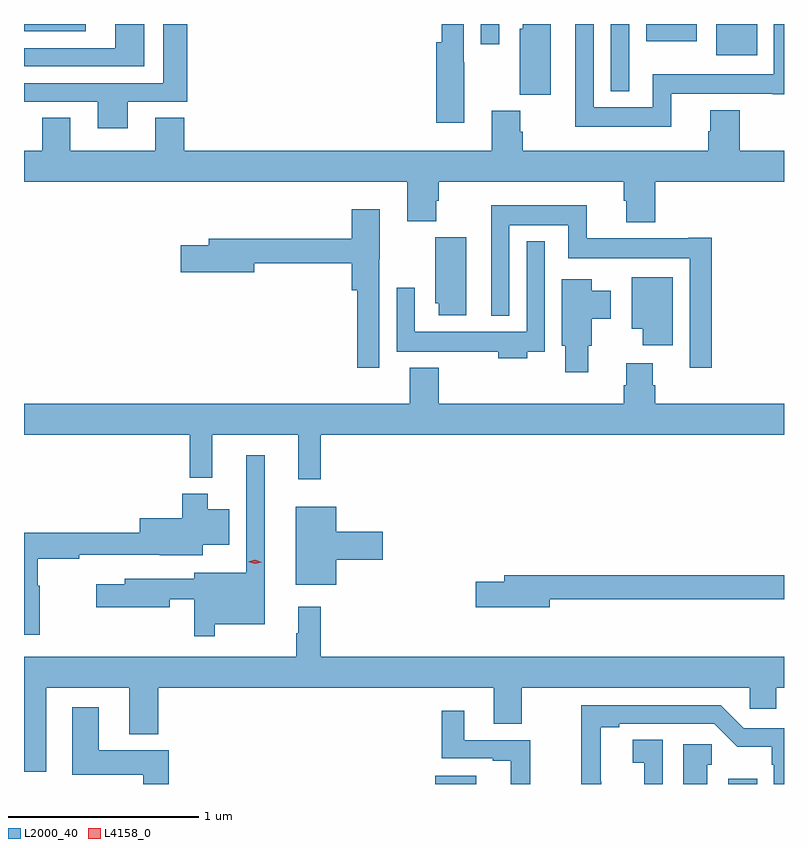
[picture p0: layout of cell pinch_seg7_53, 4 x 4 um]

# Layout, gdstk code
import gdstk
lib = gdstk.Library(unit=1e-6, precision=1e-09)
def R(c, l, rs):  # rectangles x0, y0, x1, y1
    for r in rs: c.add(gdstk.rectangle(r[:2], r[2:], *l))
def P(c, l, *ps):  # polygons
    for p in ps: c.add(gdstk.Polygon(p, *l))
L2000_40 = (2000, 40)
L4158_0 = (4158, 0)

pinch_seg7_53 = lib.new_cell('pinch_seg7_53')
R(pinch_seg7_53, L2000_40, [(974.756,1068.042,974.971,1068.085), (976.298,1068.042,976.45,1068.07), (975.681,1071.689,975.777,1072.042), (976.235,1071.878,976.45,1072.042), (974.997,1071.936,975.093,1072.042), (975.866,1071.95,976.132,1072.042), (972.592,1072.004,972.916,1072.042)])
P(pinch_seg7_53, L2000_40, [(975.364,1072.042),(975.218,1072.042),(975.218,1072.017),(975.2,1072.017),(975.2,1071.67),(975.364,1071.67)],
  [(974.908,1071.842),(974.907,1071.842),(974.907,1072.042),(974.791,1072.042),(974.791,1071.946),(974.762,1071.946),(974.762,1071.522),(974.908,1071.522)],
  [(973.225,1072.042),(973.073,1072.042),(973.073,1071.915),(972.592,1071.915),(972.592,1071.819),(973.225,1071.819)],
  [(973.138,1071.633),(973.451,1071.633),(973.451,1072.042),(973.325,1072.042),(973.325,1071.729),(972.592,1071.729),(972.592,1071.633),(972.98,1071.633),(972.98,1071.494),(973.138,1071.494)],
  [(975.998,1071.674),(976.532,1071.674),(976.532,1071.672),(976.592,1071.672),(976.592,1072.042),(976.539,1072.042),(976.539,1071.778),(975.9,1071.778),(975.9,1071.604),(975.591,1071.604),(975.591,1072.042),(975.494,1072.042),(975.494,1071.5),(975.998,1071.5)],
  [(975.914,1071.212),(976.592,1071.212),(976.592,1071.376),(976.358,1071.376),(976.358,1071.589),(976.205,1071.589),(976.205,1071.477),(976.193,1071.477),(976.193,1071.376),(975.218,1071.376),(975.218,1071.476),(975.205,1071.476),(975.205,1071.585),(975.053,1071.585),(975.053,1071.376),(973.436,1071.376),(973.436,1071.548),(973.283,1071.548),(973.283,1071.376),(972.835,1071.376),(972.835,1071.548),(972.688,1071.548),(972.688,1071.376),(972.592,1071.376),(972.592,1071.212),(974.609,1071.212),(974.609,1071.004),(974.761,1071.004),(974.761,1071.113),(974.774,1071.113),(974.774,1071.212),(975.749,1071.212),(975.749,1071.111),(975.761,1071.111),(975.761,1070.999),(975.914,1070.999)],
  [(976.211,1070.917),(976.088,1070.917),(976.088,1070.914),(975.554,1070.914),(975.554,1071.088),(975.05,1071.088),(975.05,1070.507),(975.147,1070.507),(975.147,1070.984),(975.456,1070.984),(975.456,1070.81),(976.095,1070.81),(976.095,1070.232),(976.211,1070.232)],
  [(974.463,1070.805),(974.464,1070.805),(974.464,1071.067),(974.318,1071.067),(974.318,1070.911),(973.565,1070.911),(973.565,1070.877),(973.416,1070.877),(973.416,1070.735),(973.804,1070.735),(973.804,1070.782),(974.318,1070.782),(974.318,1070.642),(974.347,1070.642),(974.347,1070.232),(974.463,1070.232)],
  [(974.92,1070.919),(974.756,1070.919),(974.756,1070.571),(974.774,1070.571),(974.774,1070.508),(974.92,1070.508)],
  [(975.241,1070.316),(975.333,1070.316),(975.333,1070.899),(975.237,1070.899),(975.237,1070.422),(974.649,1070.422),(974.649,1070.653),(974.553,1070.653),(974.553,1070.318),(974.857,1070.318),(974.857,1070.316),(975.089,1070.316),(975.089,1070.282),(975.241,1070.282)],
  [(976.006,1070.71),(975.791,1070.71),(975.791,1070.438),(975.848,1070.438),(975.848,1070.352),(976.006,1070.352)],
  [(975.562,1070.349),(975.58,1070.349),(975.58,1070.491),(975.679,1070.491),(975.679,1070.638),(975.58,1070.638),(975.58,1070.698),(975.422,1070.698),(975.422,1070.349),(975.44,1070.349),(975.44,1070.208),(975.562,1070.208)],
  [(974.153,1069.88),(976.592,1069.88),(976.592,1070.044),(975.914,1070.044),(975.914,1070.142),(975.901,1070.142),(975.901,1070.257),(975.761,1070.257),(975.761,1070.142),(975.749,1070.142),(975.749,1070.044),(974.774,1070.044),(974.774,1070.233),(974.621,1070.233),(974.621,1070.044),(972.592,1070.044),(972.592,1069.88),(973.465,1069.88),(973.465,1069.655),(973.583,1069.655),(973.583,1069.88),(974.036,1069.88),(974.036,1069.647),(974.153,1069.647)],
  [(973.597,1068.884),(973.858,1068.884),(973.858,1069.771),(973.761,1069.771),(973.761,1069.153),(973.487,1069.153),(973.487,1069.122),(973.121,1069.122),(973.121,1069.093),(972.972,1069.093),(972.972,1068.971),(973.36,1068.971),(973.36,1069.014),(973.488,1069.014),(973.488,1068.819),(973.597,1068.819)],
  [(972.676,1069.086),(972.664,1069.086),(972.664,1069.228),(972.884,1069.228),(972.884,1069.248),(973.306,1069.248),(973.306,1069.247),(973.534,1069.247),(973.534,1069.301),(973.672,1069.301),(973.672,1069.489),(973.558,1069.489),(973.558,1069.57),(973.424,1069.57),(973.424,1069.441),(973.202,1069.441),(973.202,1069.364),(972.592,1069.364),(972.592,1068.827),(972.676,1068.827)],
  [(974.236,1069.223),(974.479,1069.223),(974.479,1069.37),(974.236,1069.37),(974.236,1069.501),(974.021,1069.501),(974.021,1069.091),(974.236,1069.091)],
  [(975.358,1069.014),(976.592,1069.014),(976.592,1069.142),(975.119,1069.142),(975.119,1069.106),(974.97,1069.106),(974.97,1068.971),(975.358,1068.971)],
  [(972.709,1068.548),(973.145,1068.548),(973.145,1068.305),(973.298,1068.305),(973.298,1068.548),(975.065,1068.548),(975.065,1068.358),(975.213,1068.358),(975.213,1068.548),(976.413,1068.548),(976.413,1068.438),(976.552,1068.438),(976.552,1068.548),(976.592,1068.548),(976.592,1068.712),(974.153,1068.712),(974.153,1068.976),(974.036,1068.976),(974.036,1068.836),(974.025,1068.836),(974.025,1068.712),(972.592,1068.712),(972.592,1068.107),(972.709,1068.107)],
  [(975.63,1068.057),(975.628,1068.057),(975.628,1068.34),(975.724,1068.34),(975.724,1068.36),(976.224,1068.36),(976.345,1068.239),(976.527,1068.239),(976.527,1068.143),(976.539,1068.143),(976.539,1068.042),(976.592,1068.042),(976.592,1068.336),(976.38,1068.336),(976.26,1068.456),(975.526,1068.456),(975.526,1068.042),(975.63,1068.042)],
  [(973.355,1068.22),(972.985,1068.22),(972.985,1068.445),(972.845,1068.445),(972.845,1068.092),(973.22,1068.092),(973.22,1068.042),(973.355,1068.042)],
  [(975.257,1068.273),(974.908,1068.273),(974.908,1068.427),(974.791,1068.427),(974.791,1068.177),(975.059,1068.177),(975.059,1068.165),(975.155,1068.165),(975.155,1068.042),(975.257,1068.042)],
  [(975.954,1068.275),(975.795,1068.275),(975.795,1068.155),(975.856,1068.155),(975.856,1068.042),(975.954,1068.042)],
  [(976.189,1068.144),(976.211,1068.144),(976.211,1068.25),(976.061,1068.25),(976.061,1068.042),(976.189,1068.042)])
P(pinch_seg7_53, L4158_0, [(973.806,1069.201),(973.771,1069.213),(973.771,1069.213),(973.771,1069.213),(973.807,1069.221),(973.842,1069.21),(973.842,1069.21),(973.842,1069.209)])

lib.write_gds('pinch_seg7_53.gds')
